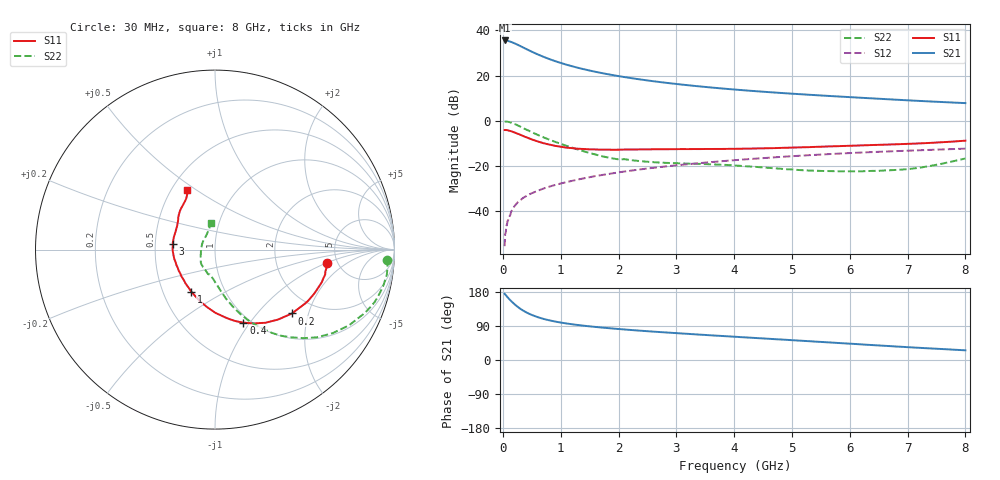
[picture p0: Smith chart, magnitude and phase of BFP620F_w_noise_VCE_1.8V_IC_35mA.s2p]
! Infineon Technologies  Discrete & RF Semiconductors
! BFP620F
! VCE =  1.8 V,  IC =  35 mA
! Common Emitter S-Parameters:  Dec 2014
# GHz  S  MA  R  50
!  f  S11  S21  S12  S22
! GHz  MAG  ANG  MAG  ANG  MAG  ANG  MAG  ANG
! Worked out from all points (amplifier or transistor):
!   95 points, 30 MHz to 8 GHz, reference 50 ohm
!   highest |S21| = 35.6 dB at 30 MHz (marker M1)
!   |S21| within 3 dB of that: start of sweep to 342.2 MHz
!   unconditionally stable (mu >= 1): 2.302 GHz to end of sweep
!   at 300 MHz: K = 0.41, MSG = 34.1 dB, |S12| = -35.1 dB
!   at 3.3 GHz: K = 1.03, MAG = 16.2 dB, |S12| = -18.9 dB
!   at 8 GHz: K = 1.06, MAG = 8.6 dB, |S12| = -12.3 dB
!   lowest NFmin = 1.25 dB at 450 MHz
!   S11 on the Smith chart (normalised r, x): 30 MHz: 4.14, -0.99; 200 MHz: 1.52, -1.57; 400 MHz: 0.93, -0.93; 1 GHz: 0.69, -0.35; 3 GHz: 0.62, +0.04; 8 GHz: 0.60, +0.46
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0.03  0.6292 -6.6  60.09 174.8  0.0017 98.7  0.9596 -3.3
0.07  0.6245 -14.9  59.37 167.7  0.0049 82.9  0.9627 -10.1
0.11  0.6069 -23.0  57.5 160.7  0.0075 80.9  0.9424 -16.7
0.15  0.5858 -30.7  55.33 154.5  0.0102 79.3  0.9082 -22.7
0.2  0.5572 -39.7  52 147.4  0.013 75.4  0.8576 -29.5
0.25  0.525 -47.9  48.67 141.0  0.0155 72.0  0.8038 -35.4
0.3  0.4952 -55.4  45.32 135.3  0.0175 70.8  0.7495 -40.7
0.4  0.4365 -68.8  39.12 126.1  0.0216 67.7  0.6475 -49.0
0.5  0.3892 -79.8  33.9 118.9  0.0252 67.2  0.564 -55.5
0.6  0.3522 -89.7  29.64 113.2  0.0284 65.9  0.4924 -60.6
0.7  0.3226 -98.1  26.2 108.6  0.0319 65.7  0.4352 -64.9
0.8  0.3005 -105.9  23.37 104.8  0.0351 65.8  0.3866 -68.4
1  0.2689 -119.5  19.13 98.8  0.0413 65.5  0.3116 -74.3
1.2  0.2499 -131.1  16.12 94.2  0.0474 65.4  0.2561 -79.5
1.4  0.2394 -141.2  13.9 90.5  0.0537 65.2  0.2128 -84.5
2  0.231 -164.3  9.793 81.8  0.0727 63.6  0.1412 -102.1
2.7  0.2365 178.2  7.277 73.9  0.0948 60.5  0.1201 -120.5
3  0.2373 172.1  6.56 70.9  0.1041 58.9  0.1165 -126.4
4.1  0.2424 154.2  4.833 60.5  0.1383 52.6  0.1017 -141.3
5.4  0.2664 140.4  3.718 48.6  0.1774 44.1  0.0795 -171.6
6.7  0.3012 127.7  2.993 36.6  0.2121 34.7  0.0811 144.2
8  0.3659 114.8  2.474 25.5  0.2436 25.6  0.1476 98.8
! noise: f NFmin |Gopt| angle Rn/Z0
0.45  1.25  0.11  -173  0.16
0.9  1.28  0.11  -172  0.13
1.5  1.29  0.16  -150  0.12
1.8  1.3  0.16  -150  0.13
1.9  1.3  0.16  -149  0.13
2.4  1.32  0.17  215  0.15
3.5  1.38  0.18  220  0.18
5.5  1.52  0.24  245  0.15
6  1.56  0.25  260  0.17
